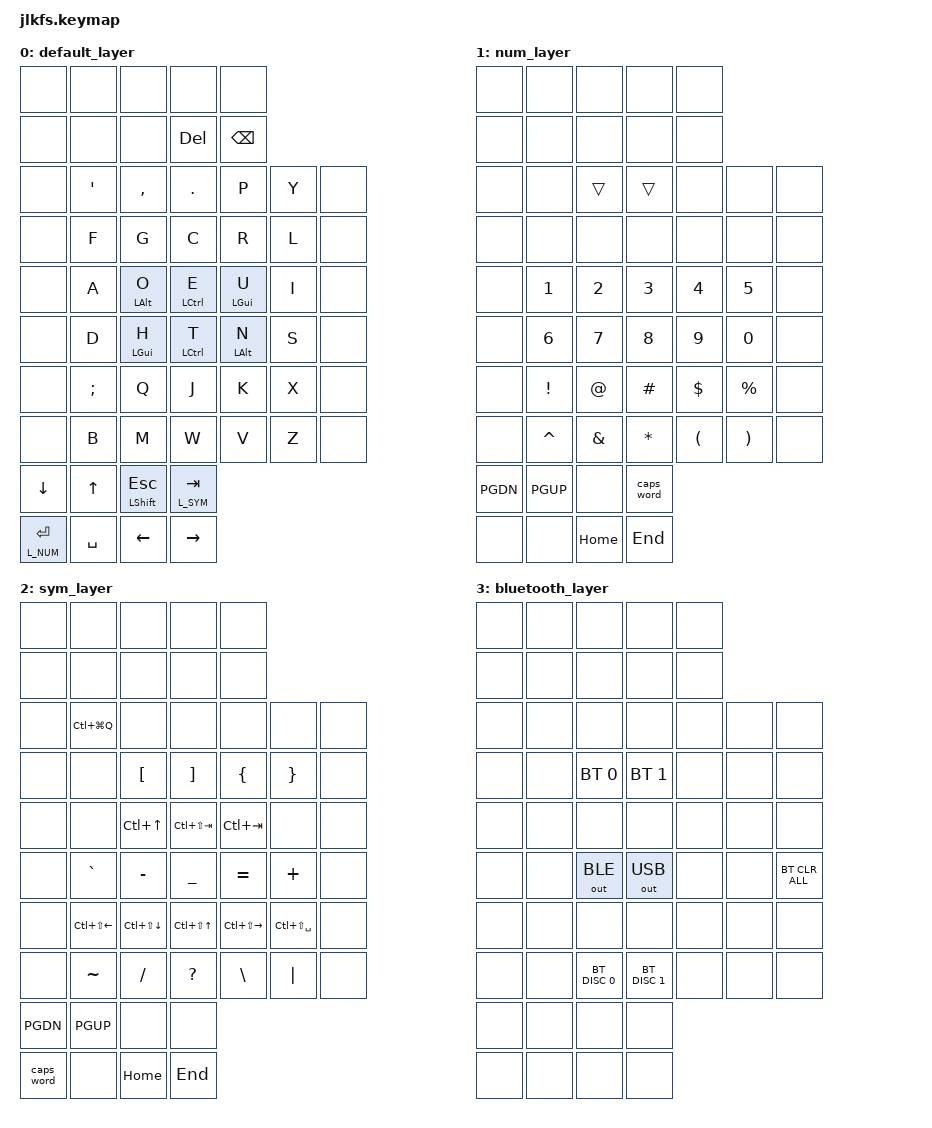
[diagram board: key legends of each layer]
#include <behaviors.dtsi>
#include <dt-bindings/zmk/bt.h>
#include <dt-bindings/zmk/keys.h>
#include <dt-bindings/zmk/outputs.h>

#define L_DEFAULT 0
#define L_NUM     1
#define L_SYM     2
#define L_BT      3

#define QUICK_TAP_MS 300

//------------------------------------------------------------------------------
// Defaults
//------------------------------------------------------------------------------

&lt {
  tapping-term-ms = <150>;
  flavor = "hold-preferred";
  quick-tap-ms = <QUICK_TAP_MS>;
};

&mt {
  quick-tap-ms = <QUICK_TAP_MS>;
};

/ {

//------------------------------------------------------------------------------
// Behaviors
//------------------------------------------------------------------------------

  behaviors {

    mtb: balanced_mod_tap {
      compatible = "zmk,behavior-hold-tap";
      #binding-cells = <2>;
      flavor = "balanced";
      tapping-term-ms = <250>;
      quick-tap-ms = <QUICK_TAP_MS>;
      require-prior-idle-ms = <125>;
      bindings = <&kp>, <&kp>;
    };
  };

  //----------------------------------------------------------------------------
  // Combos
  //----------------------------------------------------------------------------

  combos {
    compatible = "zmk,combos";

    combo_bootloader_l {
      key-positions = <3 4>;
      bindings = <&bootloader>;
    };

    combo_bootloader_r {
      key-positions = <5 6>;
      bindings = <&bootloader>;
    };

    combo_bt_layer {
      key-positions = <0 1>;
      bindings = <&mo L_BT>;
    };
  };


  //----------------------------------------------------------------------------
  // Keymap
  //----------------------------------------------------------------------------

  keymap {
    compatible = "zmk,keymap";

    default_layer {
      bindings = <
        &none &none &none &none &none
        &none &none &none &kp DEL &kp BSPC

        &none &kp SQT &kp COMMA &kp DOT &kp P &kp Y &none
        &none &kp F &kp G &kp C &kp R &kp L &none

        &none &kp A &mtb LALT O &mtb LCTRL E &mtb LGUI U &kp I &none
        &none &kp D &mtb LGUI H &mtb LCTRL T &mtb LALT N &kp S &none

        &none &kp SEMI &kp Q &kp J &kp K &kp X &none
        &none &kp B &kp M &kp W &kp V &kp Z &none

        &kp DOWN &kp UP &mt LSHIFT ESC &lt L_SYM TAB
        &lt L_NUM ENTER &kp SPACE &kp LEFT &kp RIGHT
      >;
    };

    num_layer {
      bindings = <
        &none &none &none &none &none
        &none &none &none &none &none

        &none &none &trans &trans &none &none &none
        &none &none &none &none &none &none &none

        &none &kp N1 &kp N2 &kp N3 &kp N4 &kp N5 &none
        &none &kp N6 &kp N7 &kp N8 &kp N9 &kp N0 &none

        &none &kp EXCL &kp AT &kp HASH &kp DLLR &kp PRCNT &none
        &none &kp CARET &kp AMPS &kp STAR &kp LPAR &kp RPAR &none

        &kp PGDN &kp PGUP &none &caps_word
        &none &none &kp HOME &kp END
      >;
    };

    sym_layer {
      bindings = <
        &none &none &none &none &none
        &none &none &none &none &none

        &none &kp LC(LG(Q)) &none &none &none &none &none
        &none &none &kp LBKT &kp RBKT &kp LBRC &kp RBRC &none

        &none &none &kp LC(UP) &kp LC(LS(TAB)) &kp LC(TAB) &none &none
        &none &kp GRAVE &kp MINUS &kp UNDER &kp EQUAL &kp PLUS &none

        &none &kp LC(LS(LEFT)) &kp LC(LS(DOWN)) &kp LC(LS(UP)) &kp LC(LS(RIGHT)) &kp LC(LS(SPACE)) &none
        &none &kp TILDE &kp FSLH &kp QMARK &kp BSLH &kp PIPE &none

        &kp PGDN &kp PGUP &none &none
        &caps_word &none &kp HOME &kp END
      >;
    };

    bluetooth_layer {
      bindings = <
        &none &none &none &none &none
        &none &none &none &none &none

        &none &none &none &none &none &none &none
        &none &none &bt BT_SEL 0 &bt BT_SEL 1 &none &none &none

        &none &none &none &none &none &none &none
        &none &none &out OUT_BLE &out OUT_USB &none &none &bt BT_CLR_ALL

        &none &none &none &none &none &none &none
        &none &none &bt BT_DISC 0 &bt BT_DISC 1 &none &none &none

        &none &none &none &none
        &none &none &none &none
      >;
    };

  };
};
